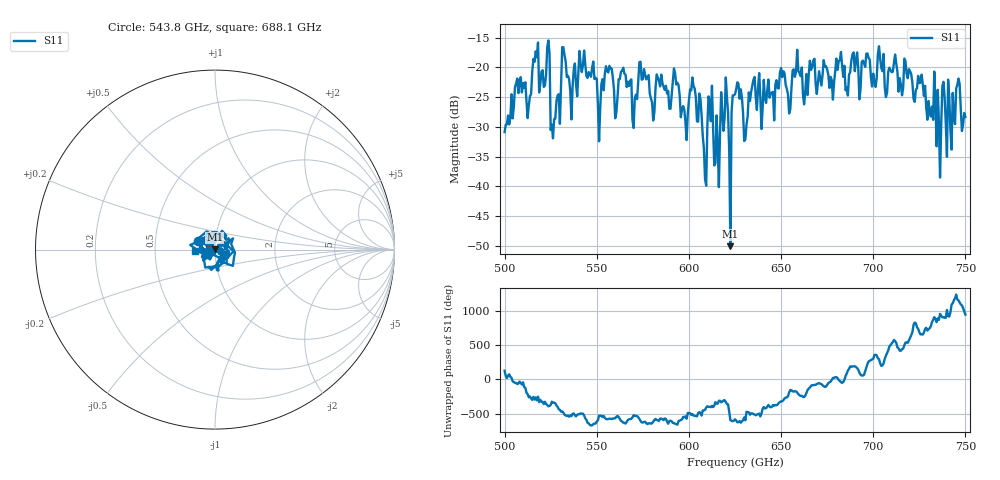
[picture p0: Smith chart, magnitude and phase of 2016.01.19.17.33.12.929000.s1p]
!Created with skrf (http://scikit-rf.org).
# GHz S RI R 50.0
!freq ReS11 ImS11
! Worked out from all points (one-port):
!   401 points, 500 GHz to 750 GHz, reference 50 ohm
!   lowest |S11| = -50.1 dB at 622.5 GHz (marker M1), VSWR 1.01, Z = 49.8 + j0.253 ohm
!   |S11| at or under -10 dB: start of sweep to end of sweep
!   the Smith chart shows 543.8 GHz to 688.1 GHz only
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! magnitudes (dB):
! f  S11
! 500 GHz  -30.9
! 507.5 GHz  -24.3
! 513.1 GHz  -26.4
! 516.9 GHz  -17.3
! 523.1 GHz  -16.6
! 526.2 GHz  -31.9
! 531.2 GHz  -16.6
! 562.5 GHz  -22.0
! 570.6 GHz  -25.2
! 574.4 GHz  -22.1
! 580 GHz  -25.9
! 593.8 GHz  -22.6
! 598.1 GHz  -29.3
! 602.5 GHz  -23.2
! 608.8 GHz  -38.8
! 611.2 GHz  -25.7
! 615 GHz  -28.1
! 618.8 GHz  -30.7
! 622.5 GHz  -50.1
! 625 GHz  -24.5
! 630.6 GHz  -32.1
! 634.4 GHz  -23.1
! 656.2 GHz  -20.5
! 687.5 GHz  -20.8
! 718.8 GHz  -21.8
! 735.6 GHz  -29.0
! 746.2 GHz  -21.9
! 750 GHz  -28.3
